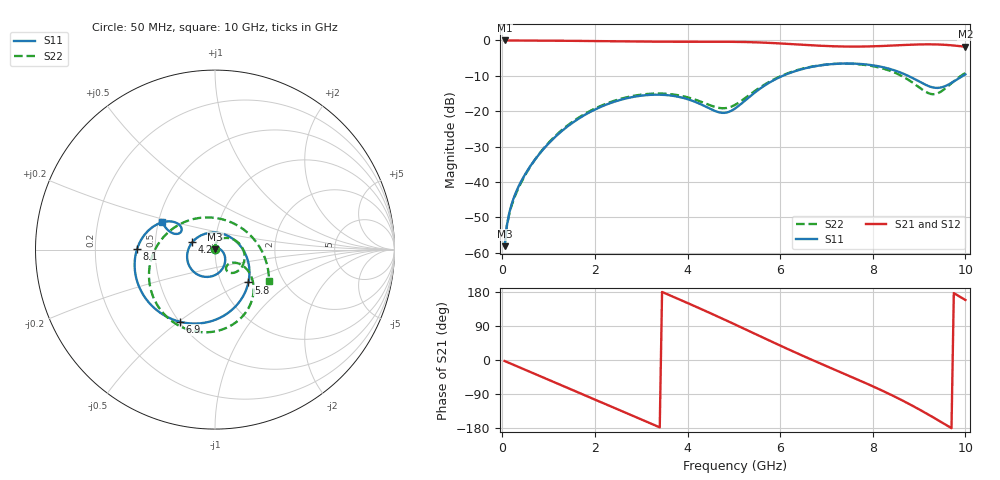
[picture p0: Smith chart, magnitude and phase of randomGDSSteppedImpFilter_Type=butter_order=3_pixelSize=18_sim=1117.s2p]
! freq	dB(S11)	phase(S11)	dB(S12)	phase(S12)
!  dB(S21)	phase(S21)	dB(S22)	phase(S22)
!S-par simulation data
#  GHz  S  DB  R 50
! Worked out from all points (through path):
!   200 points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, 50 MHz to 10 GHz, reference 50 ohm
!   highest |S21| = 0.00 dB at 50 MHz (marker M1); lowest = -1.8 dB at 10 GHz (marker M2)
!   group delay of S21, straight-line fit = 153 ps
!   lowest |S11| = -58.1 dB at 50 MHz (marker M3), VSWR 1.00, Z = 50 + j0.122 ohm
!   |S11| at or under -10 dB: start of sweep to 6.055 GHz; 8.763 GHz to 9.946 GHz (1.182 GHz wide, 12.6 % of centre)
!   |S22| runs from -58.1 to -6.6 dB; largest |S21 - S12| = 0
!   S11 on the Smith chart (normalised r, x): 50 MHz: 1.00, +0.00; 4.2 GHz: 0.77, +0.06; 5.8 GHz: 1.34, -0.53; 6.9 GHz: 0.50, -0.50; 8.1 GHz: 0.39, +0.00; 10 GHz: 0.52, +0.18
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0.05  -58.12 78.1  -0.00 -2.7  -0.00 -2.7  -58.10 83.9
0.1  -52.21 72.9  -0.01 -5.3  -0.01 -5.3  -52.30 84.8
0.2  -46.34 61.2  -0.02 -10.5  -0.02 -10.5  -46.65 86.1
0.5  -37.67 32.2  -0.03 -26.1  -0.03 -26.1  -37.90 90.8
1.15  -27.16 -14.5  -0.08 -60.0  -0.08 -60.0  -26.92 74.7
1.75  -21.28 -49.1  -0.14 -91.3  -0.14 -91.3  -20.99 46.8
2.65  -16.45 -97.6  -0.27 -138.4  -0.27 -138.4  -16.18 1.4
3.4  -15.33 -140.1  -0.36 -177.8  -0.36 -177.8  -15.00 -34.0
4.2  -17.54 161.9  -0.37 139.6  -0.37 139.6  -16.87 -59.8
4.75  -20.46 88.8  -0.37 109.3  -0.37 109.3  -19.16 -50.3
5.05  -19.02 36.2  -0.40 92.3  -0.40 92.3  -18.02 -35.3
5.8  -11.67 -44.5  -0.71 49.5  -0.71 49.5  -11.44 -38.9
6.25  -9.00 -76.5  -1.04 24.2  -1.04 24.2  -8.87 -56.4
6.7  -7.42 -104.4  -1.38 -0.3  -1.38 -0.3  -7.35 -76.7
6.9  -6.99 -116.0  -1.52 -10.9  -1.52 -10.9  -6.95 -86.1
7.5  -6.51 -149.1  -1.74 -42.5  -1.74 -42.5  -6.58 -115.5
8.1  -7.24 179.7  -1.62 -74.9  -1.62 -74.9  -7.54 -148.8
8.35  -7.98 167.5  -1.49 -89.3  -1.49 -89.3  -8.47 -165.2
8.85  -10.55 148.0  -1.19 -120.2  -1.19 -120.2  -11.82 150.9
9.35  -13.39 150.5  -1.12 -154.5  -1.12 -154.5  -15.15 65.8
9.65  -12.35 158.6  -1.32 -176.2  -1.32 -176.2  -12.64 10.5
10  -9.58 152.2  -1.79 158.4  -1.79 158.4  -9.16 -30.3
